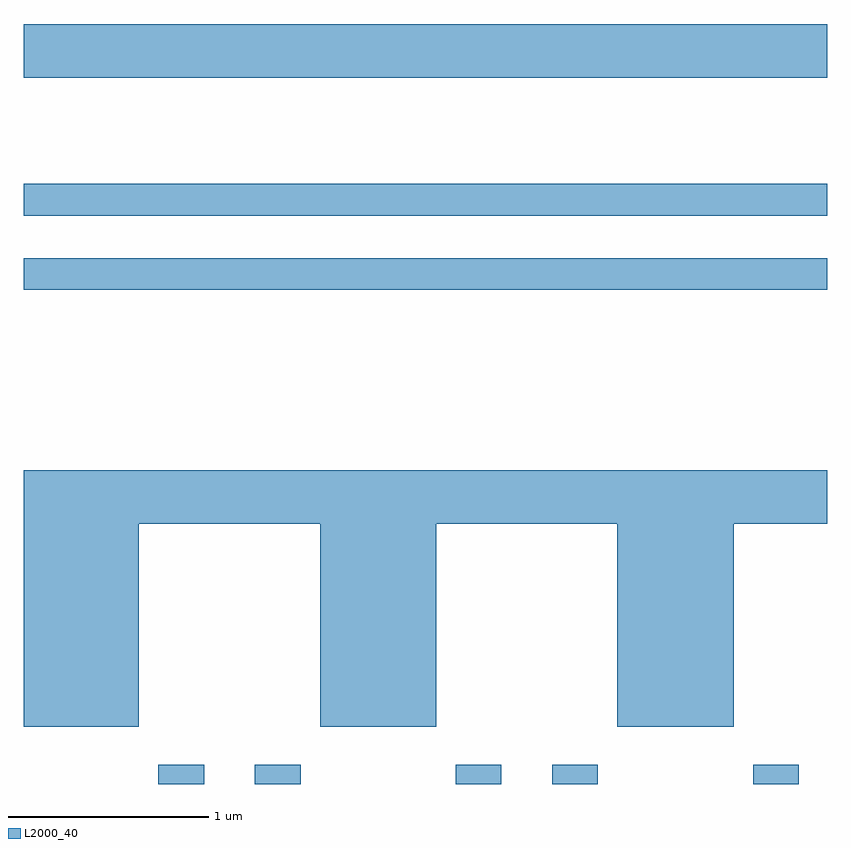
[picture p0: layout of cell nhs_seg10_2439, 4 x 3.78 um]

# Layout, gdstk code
import gdstk
lib = gdstk.Library(unit=1e-6, precision=1e-09)
def R(c, l, rs):  # rectangles x0, y0, x1, y1
    for r in rs: c.add(gdstk.rectangle(r[:2], r[2:], *l))
def P(c, l, *ps):  # polygons
    for p in ps: c.add(gdstk.Polygon(p, *l))
L2000_40 = (2000, 40)

nhs_seg10_2439 = lib.new_cell('nhs_seg10_2439')
R(nhs_seg10_2439, L2000_40, [(256.281,2212.522,256.509,2212.619), (256.761,2212.522,256.989,2212.619), (257.761,2212.522,257.989,2212.619), (258.241,2212.522,258.469,2212.619), (259.241,2212.522,259.469,2212.619), (255.611,2214.981,259.611,2215.139), (255.611,2215.351,259.611,2215.509), (255.611,2216.036,259.611,2216.304)])
P(nhs_seg10_2439, L2000_40, [(256.184,2213.816),(257.086,2213.816),(257.086,2212.806),(257.664,2212.806),(257.664,2213.816),(258.566,2213.816),(258.566,2212.806),(259.144,2212.806),(259.144,2213.816),(259.611,2213.816),(259.611,2214.084),(255.611,2214.084),(255.611,2212.806),(256.184,2212.806)])

lib.write_gds('nhs_seg10_2439.gds')
